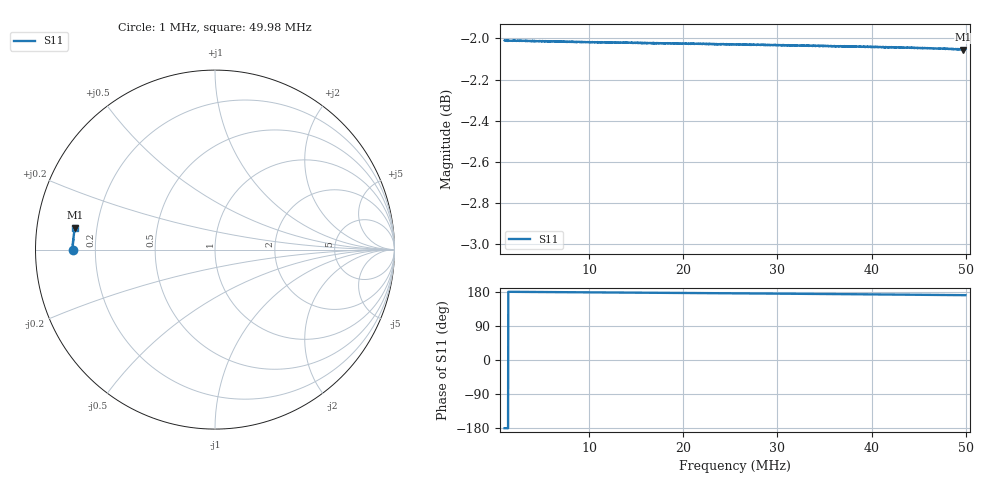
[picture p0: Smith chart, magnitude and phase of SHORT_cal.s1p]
! Created with skrf (http://scikit-rf.org).
# Hz S RI R 50.0
!freq ReS11 ImS11
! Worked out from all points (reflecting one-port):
!   2000 points, 1 MHz to 49.98 MHz, reference 50 ohm
!   lowest |S11| = -2.1 dB at 49.73 MHz (marker M1), VSWR 8.50, Z = 5.92 + j3.83 ohm
!   phase of S11 starts at -180 deg and turns -9 deg over the sweep
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1000000  -0.7934 -0.00107
1220500  -0.7934 -0.000403
2078000  -0.7933 0.00174
2911000  -0.7932 0.00388
5214000  -0.7931 0.00932
7125000  -0.7928 0.0138
1.325e7  -0.792 0.0278
1.9375e7  -0.791 0.0419
2.25845e7  -0.7904 0.0493
2.55e7  -0.7897 0.0562
2.7215e7  -0.7892 0.0603
2.77295e7  -0.7891 0.0617
2.86605e7  -0.789 0.064
2.98365e7  -0.7886 0.067
3.1625e7  -0.7879 0.0715
3.26785e7  -0.7876 0.0742
3.38055e7  -0.7874 0.0772
3.5447e7  -0.7867 0.0815
3.775e7  -0.786 0.0879
3.8681e7  -0.7856 0.0905
4.1474e7  -0.7844 0.0982
4.3875e7  -0.7833 0.105
4.50755e7  -0.7826 0.1084
4.559e7  -0.7825 0.1098
4.76235e7  -0.7812 0.1156
4.97305e7  -0.7799 0.1218
4.98285e7  -0.78 0.122
4.99755e7  -0.78 0.1225
